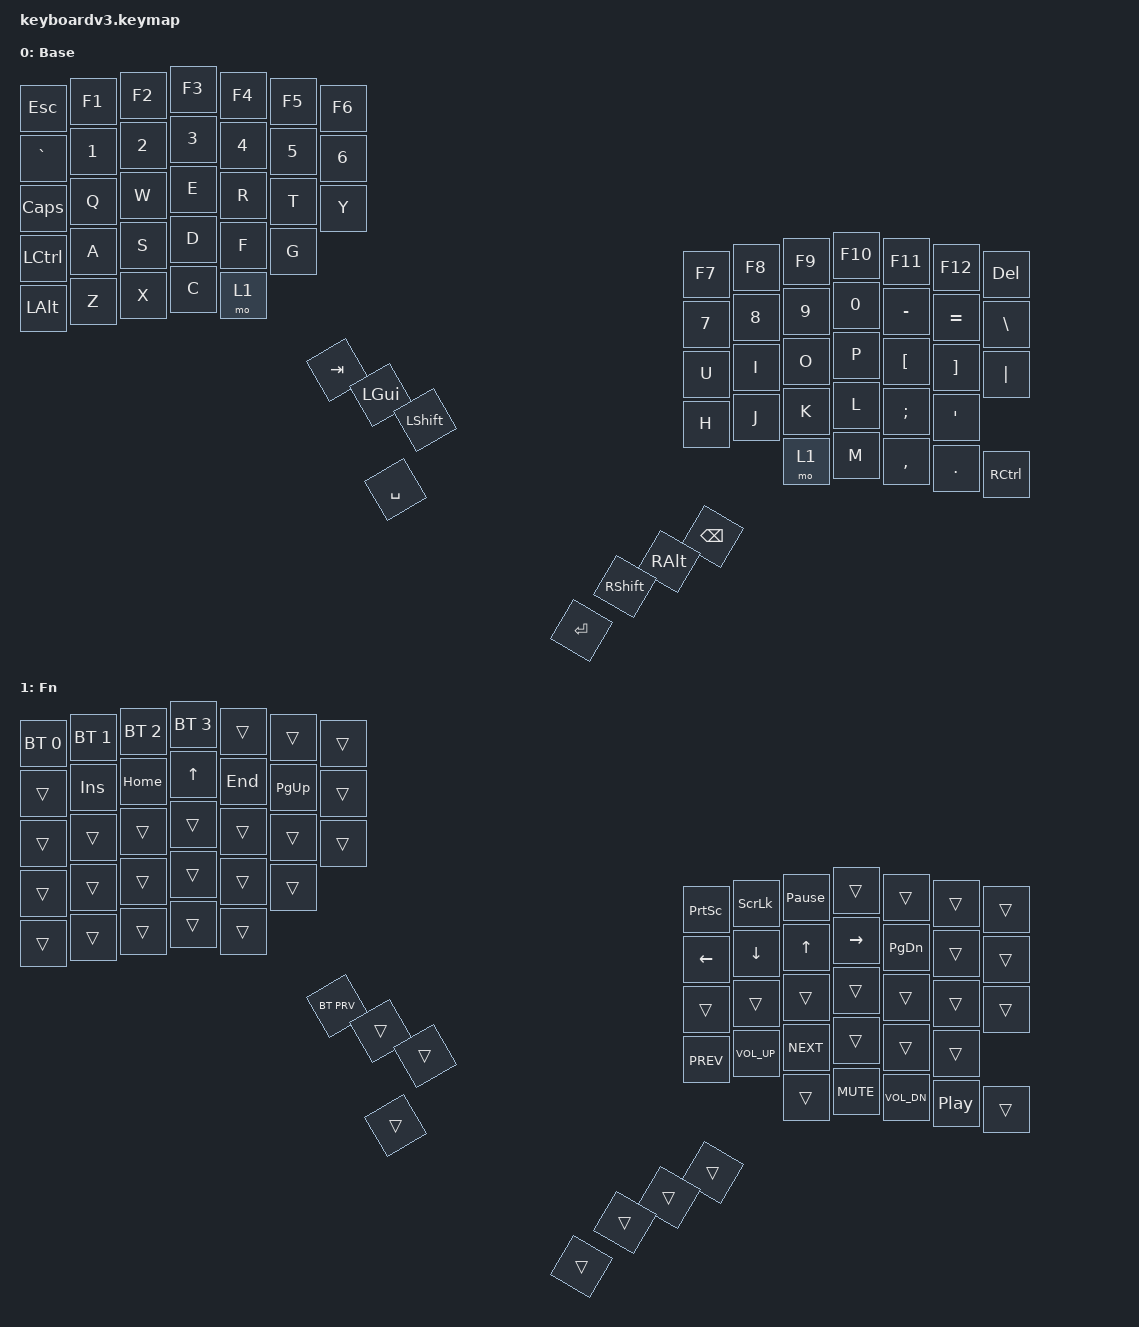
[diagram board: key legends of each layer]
#include <behaviors.dtsi>
#include <dt-bindings/zmk/keys.h>
#include <dt-bindings/zmk/bt.h>

/ {
    keymap {
        compatible = "zmk,keymap";

        default_layer {
            display-name = "Base";
            bindings = <
                // Row 0
                &kp ESC   &kp F1    &kp F2    &kp F3    &kp F4    &kp F5    &kp F6    &kp TAB
                &kp BSPC  &kp F7    &kp F8    &kp F9    &kp F10   &kp F11   &kp F12   &kp DEL

                // Row 1
                &kp GRAVE &kp N1    &kp N2    &kp N3    &kp N4    &kp N5    &kp N6    &kp LGUI
                &kp RALT  &kp N7    &kp N8    &kp N9    &kp N0    &kp MINUS &kp EQUAL &kp BSLH

                // Row 2
                &kp CAPS  &kp Q     &kp W     &kp E     &kp R     &kp T     &kp Y     &kp LSHFT
                &kp RSHFT &kp U     &kp I     &kp O     &kp P     &kp LBKT  &kp RBKT  &kp PIPE

                // Row 3
                &kp LCTRL &kp A     &kp S     &kp D     &kp F     &kp G     &kp SPACE
                &kp ENTER &kp H     &kp J     &kp K     &kp L     &kp SEMI  &kp SQT

                // Row 4
                &kp LALT  &kp Z     &kp X     &kp C     &mo 1
                &mo 1     &kp M     &kp COMMA &kp DOT   &kp RCTRL
            >;
        };

        fn_layer {
            display-name = "Fn";
            bindings = <
                // Row 0 (BT_PRV no canto superior direito)
                &bt BT_SEL 0 &bt BT_SEL 1 &bt BT_SEL 2 &bt BT_SEL 3 &trans &trans &trans &bt BT_PRV
                &trans       &kp PSCRN    &kp SLCK     &kp PAUSE_BREAK &trans &trans &trans &trans

                // Row 1
                &trans &kp INS  &kp HOME &kp UP   &kp END   &kp PG_UP &trans &trans
                &trans &kp LEFT &kp DOWN &kp UP   &kp RIGHT &kp PG_DN &trans &trans

                // Row 2
                &trans &trans &trans &trans &trans &trans &trans &trans
                &trans &trans &trans &trans &trans &trans &trans &trans

                // Row 3
                &trans &trans &trans &trans &trans &trans &trans
                &trans &kp C_PREV &kp C_VOL_UP &kp C_NEXT &trans &trans &trans

                // Row 4
                &trans &trans &trans &trans &trans
                &trans &kp C_MUTE &kp C_VOL_DN &kp C_PP &trans
            >;
        };
    };
};
